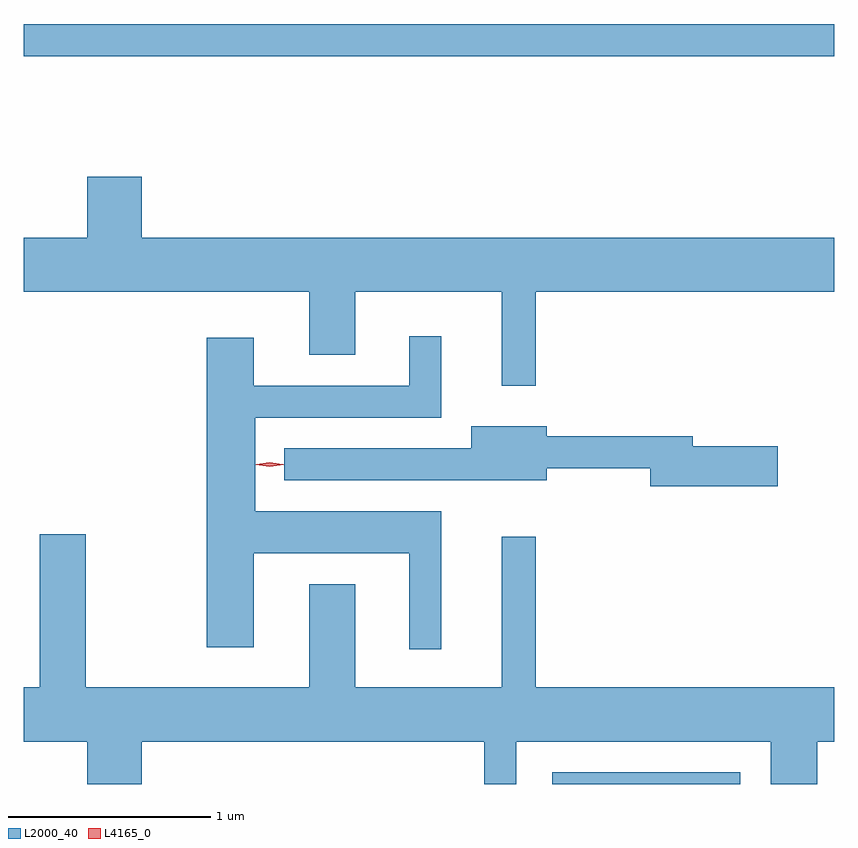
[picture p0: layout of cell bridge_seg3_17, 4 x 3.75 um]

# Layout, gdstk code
import gdstk
lib = gdstk.Library(unit=1e-6, precision=1e-09)
def R(c, l, rs):  # rectangles x0, y0, x1, y1
    for r in rs: c.add(gdstk.rectangle(r[:2], r[2:], *l))
def P(c, l, *ps):  # polygons
    for p in ps: c.add(gdstk.Polygon(p, *l))
L2000_40 = (2000, 40)
L4165_0 = (4165, 0)

bridge_seg3_17 = lib.new_cell('bridge_seg3_17')
R(bridge_seg3_17, L2000_40, [(1655.931,1163.547,1656.859,1163.604), (1653.323,1167.141,1657.323,1167.299)])
P(bridge_seg3_17, L2000_40, [(1655.849,1165.976),(1657.323,1165.976),(1657.323,1166.244),(1653.904,1166.244),(1653.904,1166.544),(1653.636,1166.544),(1653.636,1166.244),(1653.323,1166.244),(1653.323,1165.976),(1654.731,1165.976),(1654.731,1165.666),(1654.959,1165.666),(1654.959,1165.976),(1655.681,1165.976),(1655.681,1165.513),(1655.849,1165.513)],
  [(1655.384,1164.894),(1654.464,1164.894),(1654.464,1165.356),(1655.384,1165.356),(1655.384,1165.758),(1655.226,1165.758),(1655.226,1165.514),(1654.459,1165.514),(1654.459,1165.749),(1654.226,1165.749),(1654.226,1164.221),(1654.459,1164.221),(1654.459,1164.686),(1655.226,1164.686),(1655.226,1164.213),(1655.384,1164.213)],
  [(1657.044,1165.214),(1656.624,1165.214),(1656.624,1165.264),(1655.904,1165.264),(1655.904,1165.314),(1655.531,1165.314),(1655.531,1165.204),(1654.608,1165.204),(1654.608,1165.046),(1655.904,1165.046),(1655.904,1165.106),(1656.416,1165.106),(1656.416,1165.016),(1657.044,1165.016)],
  [(1653.904,1163.756),(1655.596,1163.756),(1655.596,1163.547),(1655.754,1163.547),(1655.754,1163.756),(1657.011,1163.756),(1657.011,1163.547),(1657.239,1163.547),(1657.239,1163.756),(1657.323,1163.756),(1657.323,1164.024),(1655.849,1164.024),(1655.849,1164.768),(1655.681,1164.768),(1655.681,1164.024),(1654.959,1164.024),(1654.959,1164.534),(1654.731,1164.534),(1654.731,1164.024),(1653.629,1164.024),(1653.629,1164.779),(1653.401,1164.779),(1653.401,1164.024),(1653.323,1164.024),(1653.323,1163.756),(1653.636,1163.756),(1653.636,1163.547),(1653.904,1163.547)])
P(bridge_seg3_17, L4165_0, [(1654.537,1165.115),(1654.471,1165.124),(1654.47,1165.125),(1654.471,1165.126),(1654.537,1165.135),(1654.602,1165.126),(1654.603,1165.125),(1654.602,1165.124)],
  [(1654.537,1165.113),(1654.468,1165.123),(1654.467,1165.123),(1654.468,1165.124),(1654.537,1165.133),(1654.606,1165.124),(1654.606,1165.123),(1654.606,1165.123)])

lib.write_gds('bridge_seg3_17.gds')
